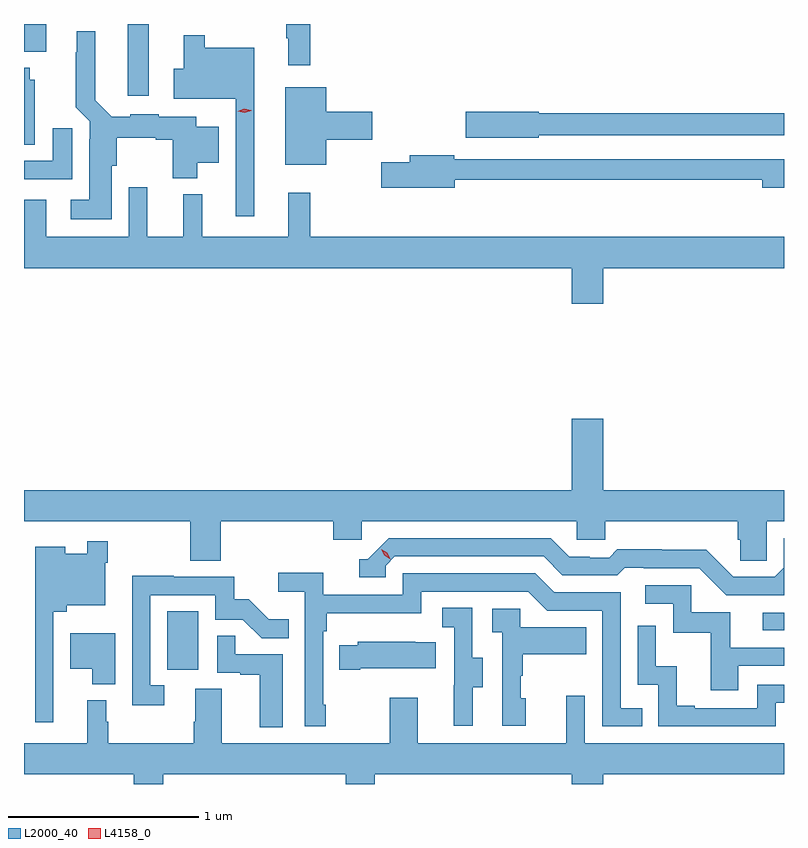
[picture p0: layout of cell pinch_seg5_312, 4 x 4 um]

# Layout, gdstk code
import gdstk
lib = gdstk.Library(unit=1e-6, precision=1e-09)
def R(c, l, rs):  # rectangles x0, y0, x1, y1
    for r in rs: c.add(gdstk.rectangle(r[:2], r[2:], *l))
def P(c, l, *ps):  # polygons
    for p in ps: c.add(gdstk.Polygon(p, *l))
L2000_40 = (2000, 40)
L4158_0 = (4158, 0)

pinch_seg5_312 = lib.new_cell('pinch_seg5_312')
R(pinch_seg5_312, L2000_40, [(906.134,878.622,906.298,878.929), (909.267,878.829,909.38,878.922), (905.927,881.643,906.037,882.021), (905.38,881.876,905.497,882.021)])
P(pinch_seg5_312, L2000_40, [(906.887,882.021),(906.759,882.021),(906.759,881.945),(906.77,881.945),(906.77,881.805),(906.887,881.805)],
  [(905.842,881.274),(905.868,881.274),(905.868,881.423),(906.074,881.423),(906.074,881.411),(906.163,881.411),(906.163,881.21),(906.292,881.21),(906.292,881.291),(906.406,881.291),(906.406,881.479),(906.286,881.479),(906.286,881.533),(906.09,881.533),(906.09,881.545),(905.94,881.545),(905.94,881.533),(905.841,881.533),(905.755,881.62),(905.755,881.983),(905.657,881.983),(905.657,881.873),(905.653,881.873),(905.653,881.582),(905.727,881.508),(905.727,881.414),(905.723,881.414),(905.723,881.095),(905.625,881.095),(905.625,880.994),(905.842,880.994)],
  [(906.592,881.896),(906.331,881.896),(906.331,881.962),(906.221,881.962),(906.221,881.785),(906.168,881.785),(906.168,881.627),(906.495,881.627),(906.495,881.01),(906.592,881.01)],
  [(905.437,881.727),(905.41,881.727),(905.41,881.791),(905.38,881.791),(905.38,881.386),(905.437,881.386)],
  [(906.97,881.411),(907.213,881.411),(907.213,881.558),(906.97,881.558),(906.97,881.689),(906.755,881.689),(906.755,881.279),(906.97,881.279)],
  [(908.088,881.436),(909.38,881.436),(909.38,881.552),(908.088,881.552),(908.088,881.558),(907.704,881.558),(907.704,881.423),(908.088,881.423)],
  [(905.635,881.473),(905.531,881.473),(905.531,881.301),(905.38,881.301),(905.38,881.205),(905.635,881.205)],
  [(907.648,881.202),(909.266,881.202),(909.266,881.159),(909.38,881.159),(909.38,881.31),(907.644,881.31),(907.644,881.33),(907.409,881.33),(907.409,881.294),(907.26,881.294),(907.26,881.159),(907.648,881.159)],
  [(908.428,880.736),(909.38,880.736),(909.38,880.9),(906.887,880.9),(906.887,881.134),(906.77,881.134),(906.77,880.9),(906.317,880.9),(906.317,881.125),(906.218,881.125),(906.218,880.9),(906.029,880.9),(906.029,881.161),(905.931,881.161),(905.931,880.9),(905.497,880.9),(905.497,881.095),(905.38,881.095),(905.38,880.736),(908.264,880.736),(908.264,880.548),(908.428,880.548)],
  [(906.416,879.404),(907.007,879.404),(907.007,879.306),(907.158,879.306),(907.158,879.404),(908.289,879.404),(908.289,879.306),(908.439,879.306),(908.439,879.404),(909.137,879.404),(909.137,879.306),(909.151,879.306),(909.151,879.196),(909.288,879.196),(909.288,879.404),(909.38,879.404),(909.38,879.568),(908.428,879.568),(908.428,879.943),(908.264,879.943),(908.264,879.568),(905.38,879.568),(905.38,879.404),(906.256,879.404),(906.256,879.196),(906.416,879.196)],
  [(909.38,879.315),(909.378,879.315),(909.378,879.159),(909.33,879.111),(909.114,879.111),(908.972,879.253),(908.736,879.253),(908.736,879.256),(908.503,879.256),(908.461,879.213),(908.358,879.213),(908.358,879.216),(908.251,879.216),(908.152,879.315),(907.299,879.315),(907.188,879.204),(907.145,879.204),(907.145,879.108),(907.284,879.108),(907.284,879.171),(907.332,879.219),(908.115,879.219),(908.214,879.12),(908.503,879.12),(908.542,879.159),(908.641,879.159),(908.641,879.156),(908.934,879.156),(909.075,879.015),(909.38,879.015)],
  [(905.535,878.927),(905.604,878.927),(905.604,878.963),(905.808,878.963),(905.808,879.185),(905.821,879.185),(905.821,879.298),(905.712,879.298),(905.712,879.232),(905.596,879.232),(905.596,879.271),(905.438,879.271),(905.438,878.346),(905.535,878.346)],
  [(906.967,878.437),(906.954,878.437),(906.954,878.825),(906.974,878.825),(906.974,878.921),(907.47,878.921),(907.47,879.033),(908.034,879.033),(908.133,878.934),(908.424,878.934),(908.424,878.325),(908.633,878.325),(908.633,878.421),(908.52,878.421),(908.52,879.03),(908.17,879.03),(908.071,879.129),(907.374,879.129),(907.374,879.018),(906.956,879.018),(906.956,879.134),(906.717,879.134),(906.717,879.032),(906.858,879.032),(906.858,878.325),(906.967,878.325)],
  [(906.118,878.541),(906.045,878.541),(906.045,879.015),(906.387,879.015),(906.387,878.886),(906.532,878.886),(906.63,878.788),(906.773,878.788),(906.773,878.887),(906.669,878.887),(906.562,878.994),(906.486,878.994),(906.486,879.111),(906.167,879.111),(906.167,879.116),(905.949,879.116),(905.949,878.436),(906.118,878.436)],
  [(909.139,878.643),(909.38,878.643),(909.38,878.739),(909.097,878.739),(909.097,878.925),(908.892,878.925),(908.892,879.066),(908.649,879.066),(908.649,878.97),(908.796,878.97),(908.796,878.817),(908.995,878.817),(908.995,878.514),(909.139,878.514)],
  [(907.741,878.53),(907.795,878.53),(907.795,878.685),(907.74,878.685),(907.74,878.948),(907.581,878.948),(907.581,878.845),(907.644,878.845),(907.644,878.541),(907.643,878.541),(907.643,878.328),(907.741,878.328)],
  [(908.02,878.472),(907.995,878.472),(907.995,878.591),(908.005,878.591),(908.005,878.705),(908.339,878.705),(908.339,878.845),(907.992,878.845),(907.992,878.943),(907.845,878.943),(907.845,878.819),(907.896,878.819),(907.896,878.328),(908.02,878.328)],
  [(909.336,878.448),(909.38,878.448),(909.38,878.544),(909.24,878.544),(909.24,878.421),(908.911,878.421),(908.911,878.434),(908.816,878.434),(908.816,878.642),(908.706,878.642),(908.706,878.854),(908.61,878.854),(908.61,878.544),(908.718,878.544),(908.718,878.325),(909.336,878.325)],
  [(905.86,878.815),(905.624,878.815),(905.624,878.627),(905.738,878.627),(905.738,878.546),(905.86,878.546)],
  [(906.742,878.703),(906.491,878.703),(906.491,878.801),(906.396,878.801),(906.396,878.607),(906.517,878.607),(906.517,878.595),(906.62,878.595),(906.62,878.321),(906.742,878.321)],
  [(907.15,878.63),(907.547,878.63),(907.547,878.767),(907.439,878.767),(907.439,878.77),(907.137,878.77),(907.137,878.752),(907.039,878.752),(907.039,878.623),(907.15,878.623)],
  [(905.714,878.461),(905.714,878.236),(905.38,878.236),(905.38,878.072),(905.957,878.072),(905.957,878.021),(906.113,878.021),(906.113,878.072),(907.073,878.072),(907.073,878.021),(907.226,878.021),(907.226,878.072),(908.264,878.072),(908.264,878.021),(908.428,878.021),(908.428,878.072),(909.38,878.072),(909.38,878.236),(908.331,878.236),(908.331,878.485),(908.234,878.485),(908.234,878.236),(907.453,878.236),(907.453,878.476),(907.306,878.476),(907.306,878.236),(906.421,878.236),(906.421,878.522),(906.281,878.522),(906.281,878.348),(906.274,878.348),(906.274,878.236),(905.824,878.236),(905.824,878.348),(905.812,878.348),(905.812,878.461)])
P(pinch_seg5_312, L4158_0, [(907.307,879.204),(907.276,879.224),(907.26,879.256),(907.26,879.256),(907.26,879.256),(907.291,879.237),(907.307,879.205),(907.307,879.204)],
  [(906.541,881.554),(906.506,881.562),(906.505,881.563),(906.506,881.563),(906.54,881.574),(906.576,881.566),(906.576,881.565),(906.576,881.565)])

lib.write_gds('pinch_seg5_312.gds')
